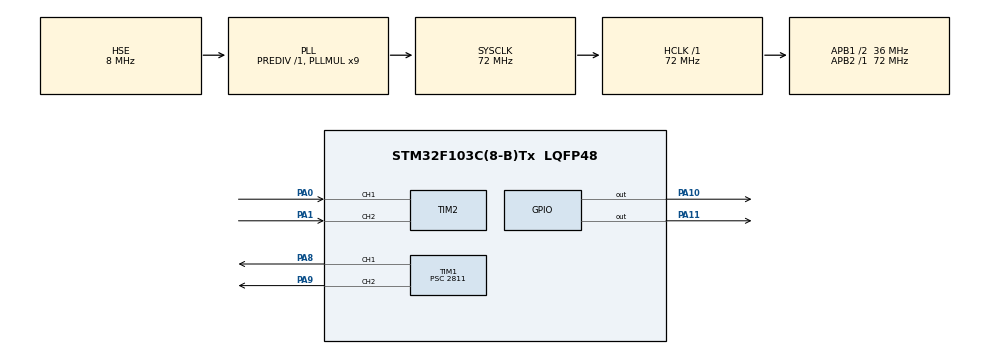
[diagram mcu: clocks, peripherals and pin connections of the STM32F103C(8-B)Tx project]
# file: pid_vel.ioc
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Mcu.Family=STM32F1
Mcu.Name=STM32F103C(8-B)Tx
Mcu.Package=LQFP48
NVIC.PriorityGroup=NVIC_PRIORITYGROUP_4
NVIC.TIM1_UP_IRQn=true\:0\:0\:false\:false\:true\:true\:true\:true
PA0-WKUP.Signal=S_TIM2_CH1_ETR
PA1.Signal=S_TIM2_CH2
PA10.Signal=GPIO_Output
PA11.Signal=GPIO_Output
PA13.Mode=Serial_Wire
PA13.Signal=SYS_JTMS-SWDIO
PA14.Mode=Serial_Wire
PA14.Signal=SYS_JTCK-SWCLK
PA8.Signal=S_TIM1_CH1
PA9.Signal=S_TIM1_CH2
PD0-OSC_IN.Mode=HSE-External-Oscillator
PD0-OSC_IN.Signal=RCC_OSC_IN
PD1-OSC_OUT.Mode=HSE-External-Oscillator
PD1-OSC_OUT.Signal=RCC_OSC_OUT
ProjectManager.HeapSize=0x200
ProjectManager.StackSize=0x400
ProjectManager.TargetToolchain=MDK-ARM V5.32
RCC.AHBFreq_Value=72000000
RCC.APB1CLKDivider=RCC_HCLK_DIV2
RCC.APB1Freq_Value=36000000
RCC.APB1TimFreq_Value=72000000
RCC.APB2Freq_Value=72000000
RCC.APB2TimFreq_Value=72000000
RCC.HCLKFreq_Value=72000000
RCC.PLLMUL=RCC_PLL_MUL9
RCC.PLLSourceVirtual=RCC_PLLSOURCE_HSE
RCC.SYSCLKFreq_VALUE=72000000
RCC.SYSCLKSource=RCC_SYSCLKSOURCE_PLLCLK
RCC.USBFreq_Value=72000000
SH.S_TIM1_CH1.0=TIM1_CH1,PWM Generation1 CH1
SH.S_TIM1_CH2.0=TIM1_CH2,PWM Generation2 CH2
SH.S_TIM2_CH1_ETR.0=TIM2_CH1,Encoder_Interface
SH.S_TIM2_CH2.0=TIM2_CH2,Encoder_Interface
TIM1.Channel-PWM\ Generation1\ CH1=TIM_CHANNEL_1
TIM1.Channel-PWM\ Generation2\ CH2=TIM_CHANNEL_2
TIM1.Period=255
TIM1.Prescaler=2811
VP_TIM1_VS_ClockSourceINT.Mode=Internal
board=custom

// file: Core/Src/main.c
/* USER CODE BEGIN Header */
/**
  ******************************************************************************
  * @file           : main.c
  * @brief          : Main program body
  ******************************************************************************
  * @attention
  *
  * Copyright (c) 2025 STMicroelectronics.
  * All rights reserved.
  *
  * This software is licensed under terms that can be found in the LICENSE file
  * in the root directory of this software component.
  * If no LICENSE file comes with this software, it is provided AS-IS.
  *
  ******************************************************************************
  */
/* USER CODE END Header */
#include "main.h"

/* USER CODE BEGIN Includes */
#include "math.h"
/* USER CODE END Includes */

TIM_HandleTypeDef htim1;
TIM_HandleTypeDef htim2;

void SystemClock_Config(void);
static void MX_GPIO_Init(void);
static void MX_TIM1_Init(void);
static void MX_TIM2_Init(void);

/* USER CODE BEGIN 0 */
#define COUNTER_MAX 65536
#define COUNTER_MID (COUNTER_MAX / 2)
#define RESET_VALUE 0
#define dt 0.01f  // 10ms

volatile short count_chuan = 0;
volatile long long xung = 0;

float Error, vel_current, P_part, I_part, D_part;
float pre_Error = 0, pre_pre_Error = 0;
float vel = 0, delta;
uint8_t Out = 0;
float pre_Out = 0;
int32_t prev_xung=0;
float Kp = 5.0f, Ki = 320.f, Kd = 3.0002;

void control_motor(uint8_t dir) {
    if (dir > 0) {
        HAL_GPIO_WritePin(GPIOA, GPIO_PIN_10, 1);
        HAL_GPIO_WritePin(GPIOA, GPIO_PIN_11, 0);
    } else {
        HAL_GPIO_WritePin(GPIOA, GPIO_PIN_10, 0);
        HAL_GPIO_WritePin(GPIOA, GPIO_PIN_11, 1);
    }
}

int32_t processEncoderCount(void) {
    uint16_t raw_count = __HAL_TIM_GET_COUNTER(&htim2);
    int32_t calibrated_count;

    if (raw_count >= COUNTER_MID) {
        calibrated_count = -(COUNTER_MAX - raw_count);
    } else {
        calibrated_count = raw_count;
    }

    if (calibrated_count >= COUNTER_MID || calibrated_count <= -COUNTER_MID) {
        calibrated_count = 0;
        __HAL_TIM_SET_COUNTER(&htim2, 0);
    }

    return calibrated_count;
}

float calculated_vel(int32_t current_xung) {
    delta = current_xung - prev_xung;

    if (delta > COUNTER_MID) delta -= COUNTER_MAX;
    else if (delta < -COUNTER_MID) delta += COUNTER_MAX;

    float velocity = (delta * 60.0f) / (985.0f * dt);  // RPM
    prev_xung = current_xung;

    return velocity;
}

void PID(int16_t setpoint) {
    count_chuan = processEncoderCount();

    vel_current = calculated_vel(count_chuan);
    Error = (float)setpoint - vel_current;

    P_part = Kp * (Error - pre_Error);
    I_part = 0.5f * Ki * dt * (Error + pre_Error);
    D_part = Kd / dt * (Error - 2.0f * pre_Error + pre_pre_Error);

    Out = pre_Out + P_part + I_part + D_part;

    if (Out > 255) Out = 255;
    if (Out < 0) Out = 0;

    if (setpoint >= 0) {
        control_motor(0);
    } else {
        control_motor(1);
    }

    __HAL_TIM_SET_COMPARE(&htim1, TIM_CHANNEL_1, (uint8_t)Out);

    pre_pre_Error = pre_Error;
    pre_Error = Error;
    pre_Out = Out;
}

void HAL_TIM_PeriodElapsedCallback(TIM_HandleTypeDef *htim) {
    if (htim->Instance == TIM1) {
        PID(+80);
    }
}

/* USER CODE END 0 */

int main(void)
{

  /* MCU Configuration--------------------------------------------------------*/

  /* Reset of all peripherals, Initializes the Flash interface and the Systick. */
  HAL_Init();

  /* Configure the system clock */
  SystemClock_Config();

  /* Initialize all configured peripherals */
  MX_GPIO_Init();
  MX_TIM1_Init();
  MX_TIM2_Init();
	HAL_TIM_Base_Start_IT(&htim1);
	HAL_TIM_Encoder_Start(&htim2, TIM_CHANNEL_ALL);
	HAL_TIM_PWM_Start(&htim1, TIM_CHANNEL_1);
	__HAL_TIM_SetCompare(&htim1, TIM_CHANNEL_1, 255);
//	control_motor(1);

  /* Infinite loop */
  while (1)
  {

  }
}

void SystemClock_Config(void)
{
  RCC_OscInitTypeDef RCC_OscInitStruct = {0};
  RCC_ClkInitTypeDef RCC_ClkInitStruct = {0};

  /** Initializes the RCC Oscillators according to the specified parameters
  * in the RCC_OscInitTypeDef structure.
  */
  RCC_OscInitStruct.OscillatorType = RCC_OSCILLATORTYPE_HSE;
  RCC_OscInitStruct.HSEState = RCC_HSE_ON;
  RCC_OscInitStruct.HSEPredivValue = RCC_HSE_PREDIV_DIV1;
  RCC_OscInitStruct.HSIState = RCC_HSI_ON;
  RCC_OscInitStruct.PLL.PLLState = RCC_PLL_ON;
  RCC_OscInitStruct.PLL.PLLSource = RCC_PLLSOURCE_HSE;
  RCC_OscInitStruct.PLL.PLLMUL = RCC_PLL_MUL9;
  if (HAL_RCC_OscConfig(&RCC_OscInitStruct) != HAL_OK)
  {
    Error_Handler();
  }

  /** Initializes the CPU, AHB and APB buses clocks
  */
  RCC_ClkInitStruct.ClockType = RCC_CLOCKTYPE_HCLK|RCC_CLOCKTYPE_SYSCLK
                              |RCC_CLOCKTYPE_PCLK1|RCC_CLOCKTYPE_PCLK2;
  RCC_ClkInitStruct.SYSCLKSource = RCC_SYSCLKSOURCE_PLLCLK;
  RCC_ClkInitStruct.AHBCLKDivider = RCC_SYSCLK_DIV1;
  RCC_ClkInitStruct.APB1CLKDivider = RCC_HCLK_DIV2;
  RCC_ClkInitStruct.APB2CLKDivider = RCC_HCLK_DIV1;

  if (HAL_RCC_ClockConfig(&RCC_ClkInitStruct, FLASH_LATENCY_2) != HAL_OK)
  {
    Error_Handler();
  }
}

static void MX_TIM1_Init(void)
{

  TIM_ClockConfigTypeDef sClockSourceConfig = {0};
  TIM_MasterConfigTypeDef sMasterConfig = {0};
  TIM_OC_InitTypeDef sConfigOC = {0};
  TIM_BreakDeadTimeConfigTypeDef sBreakDeadTimeConfig = {0};

  htim1.Instance = TIM1;
  htim1.Init.Prescaler = 2811;
  htim1.Init.CounterMode = TIM_COUNTERMODE_UP;
  htim1.Init.Period = 255;
  htim1.Init.ClockDivision = TIM_CLOCKDIVISION_DIV1;
  htim1.Init.RepetitionCounter = 0;
  htim1.Init.AutoReloadPreload = TIM_AUTORELOAD_PRELOAD_DISABLE;
  if (HAL_TIM_Base_Init(&htim1) != HAL_OK)
  {
    Error_Handler();
  }
  sClockSourceConfig.ClockSource = TIM_CLOCKSOURCE_INTERNAL;
  if (HAL_TIM_ConfigClockSource(&htim1, &sClockSourceConfig) != HAL_OK)
  {
    Error_Handler();
  }
  if (HAL_TIM_PWM_Init(&htim1) != HAL_OK)
  {
    Error_Handler();
  }
  sMasterConfig.MasterOutputTrigger = TIM_TRGO_RESET;
  sMasterConfig.MasterSlaveMode = TIM_MASTERSLAVEMODE_DISABLE;
  if (HAL_TIMEx_MasterConfigSynchronization(&htim1, &sMasterConfig) != HAL_OK)
  {
    Error_Handler();
  }
  sConfigOC.OCMode = TIM_OCMODE_PWM1;
  sConfigOC.Pulse = 0;
  sConfigOC.OCPolarity = TIM_OCPOLARITY_HIGH;
  sConfigOC.OCNPolarity = TIM_OCNPOLARITY_HIGH;
  sConfigOC.OCFastMode = TIM_OCFAST_DISABLE;
  sConfigOC.OCIdleState = TIM_OCIDLESTATE_RESET;
  sConfigOC.OCNIdleState = TIM_OCNIDLESTATE_RESET;
  if (HAL_TIM_PWM_ConfigChannel(&htim1, &sConfigOC, TIM_CHANNEL_1) != HAL_OK)
  {
    Error_Handler();
  }
  if (HAL_TIM_PWM_ConfigChannel(&htim1, &sConfigOC, TIM_CHANNEL_2) != HAL_OK)
  {
    Error_Handler();
  }
  sBreakDeadTimeConfig.OffStateRunMode = TIM_OSSR_DISABLE;
  sBreakDeadTimeConfig.OffStateIDLEMode = TIM_OSSI_DISABLE;
  sBreakDeadTimeConfig.LockLevel = TIM_LOCKLEVEL_OFF;
  sBreakDeadTimeConfig.DeadTime = 0;
  sBreakDeadTimeConfig.BreakState = TIM_BREAK_DISABLE;
  sBreakDeadTimeConfig.BreakPolarity = TIM_BREAKPOLARITY_HIGH;
  sBreakDeadTimeConfig.AutomaticOutput = TIM_AUTOMATICOUTPUT_DISABLE;
  if (HAL_TIMEx_ConfigBreakDeadTime(&htim1, &sBreakDeadTimeConfig) != HAL_OK)
  {
    Error_Handler();
  }
  HAL_TIM_MspPostInit(&htim1);

}

static void MX_TIM2_Init(void)
{

  TIM_Encoder_InitTypeDef sConfig = {0};
  TIM_MasterConfigTypeDef sMasterConfig = {0};

  htim2.Instance = TIM2;
  htim2.Init.Prescaler = 0;
  htim2.Init.CounterMode = TIM_COUNTERMODE_UP;
  htim2.Init.Period = 65535;
  htim2.Init.ClockDivision = TIM_CLOCKDIVISION_DIV1;
  htim2.Init.AutoReloadPreload = TIM_AUTORELOAD_PRELOAD_DISABLE;
  sConfig.EncoderMode = TIM_ENCODERMODE_TI1;
  sConfig.IC1Polarity = TIM_ICPOLARITY_RISING;
  sConfig.IC1Selection = TIM_ICSELECTION_DIRECTTI;
  sConfig.IC1Prescaler = TIM_ICPSC_DIV1;
  sConfig.IC1Filter = 0;
  sConfig.IC2Polarity = TIM_ICPOLARITY_RISING;
  sConfig.IC2Selection = TIM_ICSELECTION_DIRECTTI;
  sConfig.IC2Prescaler = TIM_ICPSC_DIV1;
  sConfig.IC2Filter = 0;
  if (HAL_TIM_Encoder_Init(&htim2, &sConfig) != HAL_OK)
  {
    Error_Handler();
  }
  sMasterConfig.MasterOutputTrigger = TIM_TRGO_RESET;
  sMasterConfig.MasterSlaveMode = TIM_MASTERSLAVEMODE_DISABLE;
  if (HAL_TIMEx_MasterConfigSynchronization(&htim2, &sMasterConfig) != HAL_OK)
  {
    Error_Handler();
  }

}

static void MX_GPIO_Init(void)
{
  GPIO_InitTypeDef GPIO_InitStruct = {0};

  /* GPIO Ports Clock Enable */
  __HAL_RCC_GPIOD_CLK_ENABLE();
  __HAL_RCC_GPIOA_CLK_ENABLE();

  /*Configure GPIO pin Output Level */
  HAL_GPIO_WritePin(GPIOA, GPIO_PIN_10|GPIO_PIN_11, GPIO_PIN_RESET);

  /*Configure GPIO pins : PA10 PA11 */
  GPIO_InitStruct.Pin = GPIO_PIN_10|GPIO_PIN_11;
  GPIO_InitStruct.Mode = GPIO_MODE_OUTPUT_PP;
  GPIO_InitStruct.Pull = GPIO_NOPULL;
  GPIO_InitStruct.Speed = GPIO_SPEED_FREQ_LOW;
  HAL_GPIO_Init(GPIOA, &GPIO_InitStruct);

}

void Error_Handler(void)
{
  __disable_irq();
  while (1)
  {
  }
}
